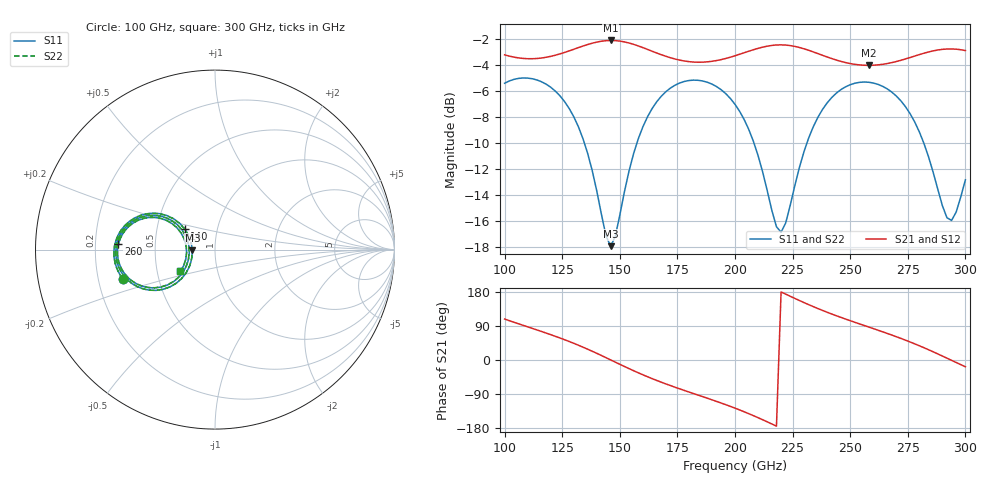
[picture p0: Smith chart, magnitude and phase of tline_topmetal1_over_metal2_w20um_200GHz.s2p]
#  GHZ S DB R 50
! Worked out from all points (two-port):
!   101 points, 100 GHz to 300 GHz, reference 50 ohm
!   highest |S21| = -2.08 dB at 146 GHz (marker M1); lowest = -4.0 dB at 258 GHz (marker M2)
!   |S21| within 3 dB of the highest: start of sweep to end of sweep
!   lowest |S11| = -18.0 dB at 146 GHz (marker M3), VSWR 1.29, Z = 38.8 - j0.287 ohm
!   |S11| at or under -10 dB: 134.6 GHz to 157.4 GHz (22.83 GHz wide, 15.6 % of centre); 208.2 GHz to 231.2 GHz (23.01 GHz wide, 10.5 % of centre); 281.9 GHz to end of sweep
!   |S22| runs from -17.9 to -5.0 dB; largest |S21 - S12| = 8.4e-14
!   S11 on the Smith chart (normalised r, x): 100 GHz: 0.31, -0.14; 140 GHz: 0.69, +0.17; 260 GHz: 0.30, +0.02; 300 GHz: 0.66, -0.17
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100  -5.38 -162.4  -3.19 108.1  -3.19 108.1  -5.38 -162.3
116  -5.27 171.4  -3.43 75.3  -3.43 75.3  -5.26 171.5
126  -6.79 155.4  -3.00 53.6  -3.00 53.6  -6.79 155.5
134  -9.66 144.7  -2.51 33.9  -2.51 33.9  -9.65 144.9
140  -13.70 145.4  -2.20 17.6  -2.20 17.6  -13.68 145.6
146  -17.97 -178.3  -2.08 0.3  -2.08 0.3  -17.90 -178.3
158  -9.69 -140.4  -2.50 -33.7  -2.50 -33.7  -9.68 -140.5
168  -6.39 -154.5  -3.18 -58.6  -3.18 -58.6  -6.38 -154.5
184  -5.15 -179.8  -3.76 -92.7  -3.76 -92.7  -5.15 -179.8
200  -7.01 155.9  -3.26 -127.1  -3.26 -127.1  -7.00 156.0
210  -10.96 146.0  -2.69 -152.2  -2.69 -152.2  -10.94 146.2
220  -16.89 -175.8  -2.42 179.6  -2.42 179.6  -16.80 -175.9
226  -13.27 -144.8  -2.54 162.4  -2.54 162.4  -13.23 -145.1
234  -8.74 -145.2  -2.96 140.8  -2.96 140.8  -8.72 -145.4
244  -6.15 -159.0  -3.59 116.8  -3.59 116.8  -6.14 -159.1
258  -5.31 179.8  -4.00 87.1  -4.00 87.1  -5.30 179.8
260  -5.36 176.9  -3.99 82.9  -3.99 82.9  -5.36 176.8
268  -6.06 165.1  -3.79 66.0  -3.79 66.0  -6.06 165.0
280  -9.14 150.1  -3.17 37.6  -3.17 37.6  -9.14 150.1
292  -15.78 172.1  -2.74 4.8  -2.74 4.8  -15.78 172.1
296  -15.34 -161.9  -2.75 -6.6  -2.75 -6.6  -15.34 -161.9
300  -12.85 -147.8  -2.86 -17.9  -2.86 -17.9  -12.85 -147.8
